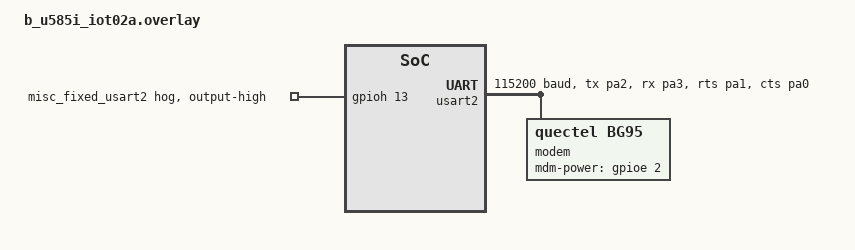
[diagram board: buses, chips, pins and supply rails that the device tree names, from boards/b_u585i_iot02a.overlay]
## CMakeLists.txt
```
# SPDX-License-Identifier: Apache-2.0

cmake_minimum_required(VERSION 3.28.0)

find_package(Zephyr REQUIRED HINTS $ENV{ZEPHYR_BASE})
project(cellular_modem)

target_sources(app PRIVATE src/main.c)
```

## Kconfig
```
# Copyright (c) 2025 Olivier Lalonde
# SPDX-License-Identifier: Apache-2.0

# Configuration options for cellular modem sample

mainmenu "Cellular modem sample application"

config SAMPLE_CELLULAR_MODEM_ENDPOINT_HOSTNAME
	string "Endpoint hostname"
	default "test-endpoint.com"

config SAMPLE_CELLULAR_MODEM_AUTO_APN
	bool "Autodetect APN from SIM IMSI"
	help
	  If enabled, the sample derives the APN from the SIM’s MCC + MNC.

menu "APN profiles for the application"
	depends on SAMPLE_CELLULAR_MODEM_AUTO_APN

config SAMPLE_CELLULAR_APN_0
	string "APN for profile #0"
	default ""
	help
	  Leave empty to disable the profile.

config SAMPLE_CELLULAR_IMSI_LIST_0
	string "IMSI prefix list for profile #0"
	default ""
	help
	  Space separated list of 5- or 6-digit MCC+MNC codes
	  that should use the APN above.
	  Example: 22801 22802 90143

config SAMPLE_CELLULAR_APN_1
	string "APN for profile #1"
	default ""

config SAMPLE_CELLULAR_IMSI_LIST_1
	string "IMSI prefix list for profile #1"
	default ""

config SAMPLE_CELLULAR_APN_2
	string "APN for profile #2"
	default ""

config SAMPLE_CELLULAR_IMSI_LIST_2
	string "IMSI prefix list for profile #2"
	default ""

config SAMPLE_CELLULAR_APN_3
	string "APN for profile #3"
	default ""

config SAMPLE_CELLULAR_IMSI_LIST_3
	string "IMSI prefix list for profile #3"
	default ""

endmenu

# Increase stack size due to DNS calls on the main thread
configdefault MAIN_STACK_SIZE
	default 2048

source "Kconfig.zephyr"
```

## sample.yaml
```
sample:
  description: Sample for cellular modem
  name: Sample for cellular modem using native networking
common:
  tags:
    - cellular
    - modem
  filter: dt_alias_exists("modem")
tests:
  sample.net.cellular_modem:
    platform_allow:
      - b_u585i_iot02a
    integration_platforms:
      - b_u585i_iot02a
  sample.net.cellular_modem.mikroe_lte_iot10_click:
    extra_args:
      - SHIELD=mikroe_lte_iot10_click
    platform_allow: ek_ra6m4
```

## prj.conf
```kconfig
# Copyright (c) 2023 Bjarki Arge Andreasen
# SPDX-License-Identifier: Apache-2.0
CONFIG_POSIX_AEP_CHOICE_NETAPP=y

# Networking
CONFIG_NETWORKING=y
CONFIG_NET_NATIVE=y
CONFIG_NET_L2_PPP=y
CONFIG_NET_IPV4=y
CONFIG_NET_UDP=y
CONFIG_NET_SOCKETS=y
CONFIG_NET_CONTEXT_RCVTIMEO=y

# DNS
CONFIG_DNS_RESOLVER=y
CONFIG_NET_L2_PPP_OPTION_DNS_USE=y

# Network management
CONFIG_NET_MGMT=y
CONFIG_NET_MGMT_EVENT=y
CONFIG_NET_CONNECTION_MANAGER=y

# Modem driver
CONFIG_MODEM=y
CONFIG_PM_DEVICE=y
CONFIG_PM_DEVICE_RUNTIME=y
CONFIG_MODEM_CELLULAR=y

# Dynamic APN configuration (uncomment if not needed)
#CONFIG_MODEM_CELLULAR_APN="" # Remove default APN
#CONFIG_SAMPLE_CELLULAR_MODEM_AUTO_APN=y
#CONFIG_SAMPLE_CELLULAR_APN_0="shared.m2m.ch"
#CONFIG_SAMPLE_CELLULAR_IMSI_LIST_0="22801"
#CONFIG_SAMPLE_CELLULAR_APN_1="em"
#CONFIG_SAMPLE_CELLULAR_IMSI_LIST_1="29505 90143 29509"

# Statistics
CONFIG_MODEM_STATS=y
CONFIG_SHELL=y

# Testing
CONFIG_MODEM_AT_SHELL=y
CONFIG_MODEM_CELLULAR_SHELL=y
CONFIG_PM_DEVICE_SHELL=y
CONFIG_SHELL_WILDCARD=n

# Logging
CONFIG_LOG=y
CONFIG_MODEM_LOG_LEVEL_DBG=y
CONFIG_MODEM_MODULES_LOG_LEVEL_DBG=y
# For extra verbosity
#CONFIG_MODEM_CMUX_LOG_LEVEL_DBG=y
#CONFIG_LOG_BUFFER_SIZE=65536
```

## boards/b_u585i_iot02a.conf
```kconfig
# Copyright (c) 2023, Bjarki Arge Andreasen
# SPDX-License-Identifier: Apache-2.0

CONFIG_UART_ASYNC_API=y
CONFIG_MODEM_CELLULAR_APN="internet"
```

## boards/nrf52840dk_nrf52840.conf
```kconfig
# Otherwise we run into DLCI buffer overruns (maybe due to lack of UART hardware flow control?)
CONFIG_MODEM_CMUX_WORK_BUFFER_SIZE=1507
CONFIG_NET_IPV6=n
```

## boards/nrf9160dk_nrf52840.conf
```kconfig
CONFIG_UART_ASYNC_API=y
CONFIG_UART_1_ASYNC=y
CONFIG_UART_1_INTERRUPT_DRIVEN=n

# Align with the Serial LTE Modem (SLM) application.
CONFIG_MODEM_CELLULAR_UART_BUFFER_SIZES=6000

# Print logs and printk() output on uart0.
CONFIG_LOG_BACKEND_UART=y

CONFIG_MODEM_LOG_LEVEL_DBG=y

# Disable AT shell as SLM application has no AT mode user pipes
CONFIG_MODEM_AT_SHELL=n
```

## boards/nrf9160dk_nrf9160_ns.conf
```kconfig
CONFIG_UART_ASYNC_API=y
CONFIG_UART_1_ASYNC=y
CONFIG_UART_1_INTERRUPT_DRIVEN=n
# Enable HW RX byte counting. This especially matters at higher baud rates.
CONFIG_UART_1_NRF_HW_ASYNC=y
CONFIG_UART_1_NRF_HW_ASYNC_TIMER=1

# Align with the Serial LTE Modem (SLM) application.
CONFIG_MODEM_CELLULAR_UART_BUFFER_SIZES=6000

# Prevent sockets getting offloaded to the modem.
CONFIG_NET_SOCKETS_OFFLOAD=n

# Print logs and printk() output on uart0.
CONFIG_LOG_BACKEND_UART=y

CONFIG_MODEM_LOG_LEVEL_DBG=y

# Disable AT shell as SLM application has no AT mode user pipes
CONFIG_MODEM_AT_SHELL=n
```

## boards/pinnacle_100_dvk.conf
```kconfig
CONFIG_MODEM_HL7800=n
CONFIG_NET_BUF_TX_COUNT=32
```

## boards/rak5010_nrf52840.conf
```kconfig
CONFIG_UART_ASYNC_API=y
CONFIG_MODEM_CELLULAR_APN="internet"
```

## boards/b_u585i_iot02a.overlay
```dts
/*
 * SPDX-FileCopyrightText: Copyright The Zephyr Project Contributors
 * SPDX-License-Identifier: Apache-2.0
 */

/ {
	aliases {
		modem-uart = &usart2;
		modem = &modem;
	};
};

&gpioh {
	misc_fixed_usart2 {
		gpio-hog;
		gpios = <13 GPIO_ACTIVE_HIGH>;
		output-high;
	};
};

&gpdma1 {
	status = "okay";
};

/* BG95 */
&usart2 {
	pinctrl-0 = <&usart2_tx_pa2 &usart2_rx_pa3 &usart2_rts_pa1 &usart2_cts_pa0>;
	pinctrl-names = "default";
	current-speed = <115200>;
	hw-flow-control;

	dmas = <&gpdma1 27 STM32_DMA_PERIPH_TX>,
	       <&gpdma1 26 STM32_DMA_PERIPH_RX>;
	dma-names = "tx", "rx";

	status = "okay";

	modem: modem {
		compatible = "quectel,bg95";
		mdm-power-gpios = <&gpioe 2 GPIO_ACTIVE_HIGH>;
		status = "okay";
	};
};
```

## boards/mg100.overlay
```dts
/ {
	aliases {
		modem-uart = &uart1;
		modem = &hl7800;
	};
};
```

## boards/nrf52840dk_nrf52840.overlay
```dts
/ {
	aliases {
		modem = &modem;
	};
};

/* Tested with Simcom A7672SA module connected via UART
 * TX: P1.2
 * RX: P1.1
 * PWRKEY: P0.02
 */
&uart1 {
	compatible = "nordic,nrf-uarte";
	status = "okay";
	current-speed = <115200>;
	/* The module I tested with doesn't expose RCS/CTS pins
	 * hw-flow-control;
	 */

	pinctrl-0 = <&uart1_default>;

	modem: modem {
		compatible = "simcom,a76xx";
		status = "okay";
		mdm-power-gpios = <&gpio0 2 (GPIO_ACTIVE_HIGH)>;
	};
};
```

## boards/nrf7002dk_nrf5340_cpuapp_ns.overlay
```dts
/ {
        aliases {
                modem = &modem;
        };
};

&pinctrl {
        uart1_alt_default: uart1_alt_default {
                group1 {
                        psels = <NRF_PSEL(UART_TX, 0, 25)>;
                };
                group2 {
                        psels = <NRF_PSEL(UART_RX, 0, 26)>;
                        bias-pull-up;
                };
        };

        uart1_alt_sleep: uart1_alt_sleep {
                group1 {
                        psels = <NRF_PSEL(UART_TX, 0, 25)>,
                                <NRF_PSEL(UART_RX, 0, 26)>;
                        low-power-enable;
                };
        };
};

&uart1 {
        pinctrl-0 = <&uart1_alt_default>;
        pinctrl-1 = <&uart1_alt_sleep>;
        pinctrl-names = "default", "sleep";
        current-speed = <115200>;
        status = "okay";

        modem: modem {
                compatible = "telit,me910g1";
                mdm-power-gpios = <&gpio1 6 GPIO_ACTIVE_HIGH>;
                mdm-reset-gpios = <&gpio1 7 GPIO_ACTIVE_LOW>;
                status = "okay";
        };
};
```

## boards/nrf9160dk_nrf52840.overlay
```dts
#include <nrf52840/nrf9160dk_uart1_on_if0_3.dtsi>

/ {
	aliases {
		modem = &modem;
	};
};

&uart1 {
	current-speed = <115200>;
	hw-flow-control;

	modem: modem {
		compatible = "nordic,nrf91-slm";
		status = "okay";
		mdm-power-gpios = <&interface_to_nrf9160 4 GPIO_ACTIVE_LOW>;
	};
};
```

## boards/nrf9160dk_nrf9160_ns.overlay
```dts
/ {
	aliases {
		modem = &modem;
	};
};

&uart1 {
	compatible = "nordic,nrf-uarte";
	current-speed = <115200>;
	hw-flow-control;
	status = "okay";

	pinctrl-0 = <&uart1_default_alt>;

	modem: modem {
		compatible = "nordic,nrf91-slm";
		status = "okay";
		mdm-power-gpios = <&gpio0 20 GPIO_ACTIVE_LOW>;
	};
};

&pinctrl {
	uart1_default_alt: uart1_default_alt {
		group1 {
			psels = <NRF_PSEL(UART_RX, 0, 11)>;
			bias-pull-up;
		};

		group2 {
			psels = <NRF_PSEL(UART_TX, 0, 10)>,
				<NRF_PSEL(UART_RTS, 0, 12)>,
				<NRF_PSEL(UART_CTS, 0, 13)>;
		};
	};
};
```

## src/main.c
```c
/*
 * Copyright (c) 2023, Bjarki Arge Andreasen
 *
 * SPDX-License-Identifier: Apache-2.0
 */

#include <netinet/in.h>
#include <sys/socket.h>
#include <arpa/inet.h>
#include <unistd.h>

#include <zephyr/device.h>
#include <zephyr/kernel.h>
#include <zephyr/net/net_if.h>
#include <zephyr/net/dns_resolve.h>
#include <zephyr/pm/device.h>
#include <zephyr/pm/device_runtime.h>
#include <string.h>

#include <zephyr/posix/netinet/in.h>
#include <zephyr/posix/sys/socket.h>
#include <zephyr/posix/arpa/inet.h>
#include <zephyr/posix/unistd.h>
#include <zephyr/posix/poll.h>

#include <zephyr/drivers/cellular.h>

#define L4_EVENT_MASK \
	(NET_EVENT_L4_CONNECTED | NET_EVENT_L4_DISCONNECTED | NET_EVENT_DNS_SERVER_ADD)
#define SAMPLE_TEST_ENDPOINT_HOSTNAME           CONFIG_SAMPLE_CELLULAR_MODEM_ENDPOINT_HOSTNAME
#define SAMPLE_TEST_ENDPOINT_UDP_ECHO_PORT	(7780)
#define SAMPLE_TEST_ENDPOINT_UDP_RECEIVE_PORT	(7781)
#define SAMPLE_TEST_PACKET_SIZE			(1024)
#define SAMPLE_TEST_ECHO_PACKETS		(16)
#define SAMPLE_TEST_TRANSMIT_PACKETS		(128)
#define L4_CONNECTED 1
#define L4_DNS_ADDED 2

const struct device *modem = DEVICE_DT_GET(DT_ALIAS(modem));

static uint8_t sample_test_packet[SAMPLE_TEST_PACKET_SIZE];
static uint8_t sample_recv_buffer[SAMPLE_TEST_PACKET_SIZE];
static bool sample_test_dns_success;
static struct dns_addrinfo sample_test_dns_addrinfo;
struct net_if *ppp_iface;
K_EVENT_DEFINE(l4_event);
K_SEM_DEFINE(dns_query_sem, 0, 1);

static uint8_t sample_prng_random(void)
{
	static uint32_t prng_state = 1234;

	prng_state = ((1103515245 * prng_state) + 12345) % (1U << 31);
	return (uint8_t)(prng_state & 0xFF);
}

static void init_sample_test_packet(void)
{
	for (size_t i = 0; i < sizeof(sample_test_packet); i++) {
		sample_test_packet[i] = sample_prng_random();
	}
}

static void print_cellular_info(void)
{
	char buffer[MAX(64, CONFIG_MODEM_CELLULAR_SERIAL_NUMBER_MAX_SIZE) + 1] = {0};
	int16_t rssi;
	int rc;

	rc = cellular_get_signal(modem, CELLULAR_SIGNAL_RSSI, &rssi);
	if (!rc) {
		printk("RSSI %d\n", rssi);
	}

	rc = cellular_get_modem_info(modem, CELLULAR_MODEM_INFO_IMEI, &buffer[0], sizeof(buffer));
	if (!rc) {
		printk("IMEI: %s\n", buffer);
	}
	rc = cellular_get_modem_info(modem, CELLULAR_MODEM_INFO_SERIAL_NUMBER, &buffer[0],
				     sizeof(buffer));
	if (!rc) {
		printk("SN: %s\n", buffer);
	}
	rc = cellular_get_modem_info(modem, CELLULAR_MODEM_INFO_MODEL_ID, &buffer[0],
				     sizeof(buffer));
	if (!rc) {
		printk("MODEL_ID: %s\n", buffer);
	}
	rc = cellular_get_modem_info(modem, CELLULAR_MODEM_INFO_MANUFACTURER, &buffer[0],
				     sizeof(buffer));
	if (!rc) {
		printk("MANUFACTURER: %s\n", buffer);
	}
	rc = cellular_get_modem_info(modem, CELLULAR_MODEM_INFO_SIM_IMSI, &buffer[0],
				     sizeof(buffer));
	if (!rc) {
		printk("SIM_IMSI: %s\n", buffer);
	}
	rc = cellular_get_modem_info(modem, CELLULAR_MODEM_INFO_SIM_ICCID, &buffer[0],
				     sizeof(buffer));
	if (!rc) {
		printk("SIM_ICCID: %s\n", buffer);
	}
	rc = cellular_get_modem_info(modem, CELLULAR_MODEM_INFO_FW_VERSION, &buffer[0],
				     sizeof(buffer));
	if (!rc) {
		printk("FW_VERSION: %s\n", buffer);
	}
}

#ifdef CONFIG_SAMPLE_CELLULAR_MODEM_AUTO_APN

struct apn_profile {
	const char *apn;
	const char *imsi_list;
};

/* Build the static table */
static const struct apn_profile apn_profiles[] = {
	{ CONFIG_SAMPLE_CELLULAR_APN_0, CONFIG_SAMPLE_CELLULAR_IMSI_LIST_0 },
	{ CONFIG_SAMPLE_CELLULAR_APN_1, CONFIG_SAMPLE_CELLULAR_IMSI_LIST_1 },
	{ CONFIG_SAMPLE_CELLULAR_APN_2, CONFIG_SAMPLE_CELLULAR_IMSI_LIST_2 },
	{ CONFIG_SAMPLE_CELLULAR_APN_3, CONFIG_SAMPLE_CELLULAR_IMSI_LIST_3 },
};


/* Helper function to skip whitespace */
static const char *skip_whitespace(const char *ptr)
{
	while (*ptr == ' ' || *ptr == '\t') {
		++ptr;
	}
	return ptr;
}

/* Helper function to find the end of current profile entry */
static bool list_matches_imsi(const char *list, const char *imsi)
{
	for (const char *p = list; *p; ) {
		p = skip_whitespace(p);
		if (!*p) {
			break;
		}

		/* copy one token from the list */
		char tok[7];
		size_t len = 0;

		while (*p && *p != ' ' && *p != '\t' && *p != ',' && len < sizeof(tok) - 1) {
			tok[len++] = *p++;
		}
		tok[len] = '\0';

		if (len >= 5 && len <= 6 && !strncmp(imsi, tok, len)) {
			return true;    /* prefix matches */
		}
	}
	return false;
}

static int modem_cellular_find_apn(char *dst, size_t dst_sz, const char *key)
{
	for (size_t i = 0; i < ARRAY_SIZE(apn_profiles); i++) {
		const struct apn_profile *p = &apn_profiles[i];

		if (p->apn[0] == '\0') {
			continue;
		}

		if (p->apn[0] && list_matches_imsi(p->imsi_list, key)) {
			strncpy(dst, p->apn, dst_sz - 1);
			dst[dst_sz - 1] = '\0';
			return 0;
		}
	}

	return -ENOENT;
}

static void auto_apn_modem_info_cb(const struct device *dev,
				   const struct cellular_evt_modem_info *mi)
{
	if (!mi || mi->field != CELLULAR_MODEM_INFO_SIM_IMSI) {
		return; /* not the IMSI notification */
	}

	char imsi[32] = {0};

	if (cellular_get_modem_info(dev, CELLULAR_MODEM_INFO_SIM_IMSI, imsi, sizeof(imsi)) != 0) {
		return;
	}

	/* Buffer for the APN we may discover */
	char apn[32] = {0};

	/* Try MCC+MNC with 6 digits first, then 5 digits */
	for (size_t len = 6; len >= 5; len--) {
		if (strlen(imsi) < len) {
			continue;
		}

		char key[7] = {0};

		memcpy(key, imsi, len);

		if (modem_cellular_find_apn(apn, sizeof(apn), key) == 0) {
			int rc = cellular_set_apn(dev, apn);

			switch (rc) {
			case 0:
				printk("Auto-selected APN: %s\n", apn);
				break;
			case -EALREADY:
				printk("APN %s already active\n", apn);
				break;
			case -EBUSY:
				printk("Driver busy, cannot change APN now\n");
				break;
			default:
				printk("Driver rejected APN %s (err %d)\n", apn, rc);
				break;
			}
			return;
		}
	}

	printk("No APN profile matches IMSI %s - waiting for manual APN\n", imsi);
}

#endif

static void modem_registration_changed(const struct device *dev,
				       const struct cellular_evt_registration_status *rs)
{
	ARG_UNUSED(dev);

	printk("Registration status: %d\n", rs->status);
}

static void comms_check_result(const struct device *dev,
			       const struct cellular_evt_modem_comms_check_result *ccr)
{
	ARG_UNUSED(dev);

	printk("Comms check %s\n", ccr->success ? "succeeded" : "failed");
}

static void network_status_changed(const struct device *dev,
				   const struct cellular_evt_network_status *ns)
{
	ARG_UNUSED(dev);
	ARG_UNUSED(ns);

	printk("Network status changed\n");
}

static void modem_suspended(const struct device *dev)
{
	ARG_UNUSED(dev);

	printk("Modem suspended\n");
}

static void modem_event_cb(const struct device *dev, enum cellular_event evt, const void *payload,
			   void *user_data)
{
	ARG_UNUSED(user_data);

	switch (evt) {
	case CELLULAR_EVENT_MODEM_INFO_CHANGED:
#ifdef CONFIG_SAMPLE_CELLULAR_MODEM_AUTO_APN
		auto_apn_modem_info_cb(dev, payload);
#endif
		break;
	case CELLULAR_EVENT_REGISTRATION_STATUS_CHANGED:
		modem_registration_changed(dev, payload);
		break;
	case CELLULAR_EVENT_MODEM_COMMS_CHECK_RESULT:
		comms_check_result(dev, payload);
		break;
	case CELLULAR_EVENT_NETWORK_STATUS_CHANGED:
		network_status_changed(dev, payload);
		break;
	case CELLULAR_EVENT_MODEM_SUSPENDED:
		modem_suspended(dev);
		break;
	default:
		printk("Unhandled event: %d\n", evt);
		break;
	}
}

static void sample_dns_request_result(enum dns_resolve_status status, struct dns_addrinfo *info,
				      void *user_data)
{
	switch (status) {
	case DNS_EAI_INPROGRESS:
		sample_test_dns_success = true;
		sample_test_dns_addrinfo = *info;
		break;
	case DNS_EAI_ALLDONE:
		k_sem_give(&dns_query_sem);
		break;
	case DNS_EAI_AGAIN:
	case DNS_EAI_FAIL:
	case DNS_EAI_NONAME:
		printk("DNS query failed: %d\n", status);
		k_sem_give(&dns_query_sem);
		break;
	default:
		printk("Unhandled DNS status: %d\n", status);
	}
}

static int sample_dns_request(void)
{
	static uint16_t dns_id;
	int ret;

	ret = dns_get_addr_info(SAMPLE_TEST_ENDPOINT_HOSTNAME,
				DNS_QUERY_TYPE_A,
				&dns_id,
				sample_dns_request_result,
				NULL,
				19000);
	if (ret < 0) {
		return -EAGAIN;
	}

	/* Wait for DNS query to complete */
	if (k_sem_take(&dns_query_sem, K_SECONDS(20)) < 0) {
		printk("DNS query timed out\n");
		return -EAGAIN;
	}

	/* Validate whether the query succeeded */
	if (!sample_test_dns_success) {
		return -EAGAIN;
	}

	return 0;
}

int sample_echo_packet(struct sockaddr *ai_addr, socklen_t ai_addrlen, uint16_t *port)
{
	int ret;
	int socket_fd;
	uint32_t packets_sent = 0;
	uint32_t send_start_ms;
	uint32_t echo_received_ms;
	uint32_t accumulated_ms = 0;

	printk("Opening UDP socket\n");

	socket_fd = socket(AF_INET, SOCK_DGRAM, IPPROTO_UDP);
	if (socket_fd < 0) {
		printk("Failed to open socket (%d)\n", errno);
		return -1;
	}

	{
		const struct timeval tv = { .tv_sec = 10 };

		if (setsockopt(socket_fd, SOL_SOCKET, SO_RCVTIMEO, &tv, sizeof(tv)) < 0) {
			printk("Failed to set socket receive timeout (%d)\n", errno);
			return -1;
		}
	}

	printk("Socket opened\n");

	*port = htons(SAMPLE_TEST_ENDPOINT_UDP_ECHO_PORT);

	for (uint32_t i = 0; i < SAMPLE_TEST_ECHO_PACKETS; i++) {
		printk("Sending echo packet\n");
		send_start_ms = k_uptime_get_32();

		ret = sendto(socket_fd, sample_test_packet, sizeof(sample_test_packet), 0,
			     ai_addr, ai_addrlen);

		if (ret < sizeof(sample_test_packet)) {
			printk("Failed to send sample test packet\n");
			continue;
		}

		printk("Receiving echoed packet\n");
		ret = recv(socket_fd, sample_recv_buffer, sizeof(sample_recv_buffer), 0);
		if (ret != sizeof(sample_test_packet)) {
			if (ret == -1) {
				printk("Failed to receive echoed sample test packet (%d)\n", errno);
			} else {
				printk("Echoed sample test packet has incorrect size (%d)\n", ret);
			}
			continue;
		}

		echo_received_ms = k_uptime_get_32();

		if (memcmp(sample_test_packet, sample_recv_buffer,
			   sizeof(sample_recv_buffer)) != 0) {
			printk("Echoed sample test packet data mismatch\n");
			continue;
		}

		packets_sent++;
		accumulated_ms += echo_received_ms - send_start_ms;

		printk("Echo transmit time %ums\n", echo_received_ms - send_start_ms);
	}

	printk("Successfully sent and received %u of %u packets\n", packets_sent,
	       SAMPLE_TEST_ECHO_PACKETS);

	if (packets_sent > 0) {
		printk("Average time per successful echo: %u ms\n",
		accumulated_ms / packets_sent);
	}

	printk("Close UDP socket\n");

	ret = close(socket_fd);
	if (ret < 0) {
		printk("Failed to close socket\n");
		return -1;
	}

	return 0;
}


int sample_transmit_packets(struct sockaddr *ai_addr, socklen_t ai_addrlen, uint16_t *port)
{
	int ret;
	int socket_fd;
	uint32_t packets_sent = 0;
	uint32_t packets_received;
	uint32_t packets_dropped;
	uint32_t send_start_ms;
	uint32_t send_end_ms;

	printk("Opening UDP socket\n");

	socket_fd = socket(AF_INET, SOCK_DGRAM, IPPROTO_UDP);
	if (socket_fd < 0) {
		printk("Failed to open socket\n");
		return -1;
	}

	{
		const struct timeval tv = { .tv_sec = 10 };

		if (setsockopt(socket_fd, SOL_SOCKET, SO_RCVTIMEO, &tv, sizeof(tv)) < 0) {
			printk("Failed to set socket receive timeout (%d)\n", errno);
			(void)close(socket_fd);
			return -1;
		}
	}

	printk("Socket opened\n");

	*port = htons(SAMPLE_TEST_ENDPOINT_UDP_RECEIVE_PORT);

	printk("Sending %u packets\n", SAMPLE_TEST_TRANSMIT_PACKETS);
	send_start_ms = k_uptime_get_32();
	for (uint32_t i = 0; i < SAMPLE_TEST_TRANSMIT_PACKETS; i++) {
		ret = sendto(socket_fd, sample_test_packet, sizeof(sample_test_packet), 0,
			     ai_addr, ai_addrlen);

		if (ret < sizeof(sample_test_packet)) {
			printk("Failed to send sample test packet\n");
			break;
		}

		packets_sent++;
	}
	send_end_ms = k_uptime_get_32();

	printk("Awaiting response from server\n");
	ret = recv(socket_fd, sample_recv_buffer, sizeof(sample_recv_buffer), 0);
	if (ret != 2) {
		printk("Invalid response\n");
		(void)close(socket_fd);
		return -1;
	}

	packets_received = sample_recv_buffer[0];
	packets_dropped = sample_recv_buffer[1];
	printk("Server received %u/%u packets\n", packets_received, packets_sent);
	printk("Server dropped %u packets\n", packets_dropped);
	printk("Time elapsed sending packets %ums\n", send_end_ms - send_start_ms);
	printk("Throughput %u bytes/s\n",
	       ((SAMPLE_TEST_PACKET_SIZE * SAMPLE_TEST_TRANSMIT_PACKETS) * 1000) /
	       (send_end_ms - send_start_ms));

	printk("Close UDP socket\n");
	ret = close(socket_fd);
	if (ret < 0) {
		printk("Failed to close socket\n");
		return -1;
	}

	return 0;
}

static void l4_event_handler(uint64_t event, struct net_if *iface, void *info, size_t info_length,
			     void *user_data)
{
	if (iface != ppp_iface) {
		return;
	}

	switch (event) {
	case NET_EVENT_L4_CONNECTED:
		k_event_post(&l4_event, L4_CONNECTED);
		break;
	case NET_EVENT_DNS_SERVER_ADD:
		k_event_post(&l4_event, L4_DNS_ADDED);
		break;
	case NET_EVENT_L4_DISCONNECTED:
		k_event_set(&l4_event, 0);
		break;
	default:
		break;
	}
}

NET_MGMT_REGISTER_EVENT_HANDLER(l4_events, L4_EVENT_MASK, l4_event_handler, NULL);

int main(void)
{
	const cellular_event_mask_t all_events =
		CELLULAR_EVENT_MODEM_INFO_CHANGED | CELLULAR_EVENT_REGISTRATION_STATUS_CHANGED |
		CELLULAR_EVENT_MODEM_COMMS_CHECK_RESULT | CELLULAR_EVENT_NETWORK_STATUS_CHANGED |
		CELLULAR_EVENT_MODEM_SUSPENDED;
	bool valid_dns = false;
	uint16_t *port;
	int ret;

	/* Subscribe before powering the modem so we catch all events */
	ret = cellular_set_callback(modem, all_events, modem_event_cb, NULL);
	if (ret < 0) {
		printk("Failed to subscribe to modem events (%d)\n", ret);
	}

	init_sample_test_packet();

	ppp_iface = net_if_get_first_by_type(&NET_L2_GET_NAME(PPP));

	printk("Bring up network interface\n");
	ret = net_if_up(ppp_iface);
	if (ret < 0) {
		printk("Failed to bring up network interface\n");
		return -1;
	}

	printk("Waiting for L4 connected\n");
	ret = k_event_wait(&l4_event, L4_CONNECTED, false, K_SECONDS(120));

	if (ret != L4_CONNECTED) {
		printk("L4 was not connected in time\n");
		return -1;
	}

	printk("Waiting for DNS server added\n");
	ret = k_event_wait(&l4_event, L4_DNS_ADDED, false, K_SECONDS(10));
	if (ret != L4_DNS_ADDED) {
		printk("DNS server was not added in time\n");
		return -1;
	}

	printk("Retrieving cellular info\n");
	print_cellular_info();

	printk("Performing DNS lookup of %s\n", SAMPLE_TEST_ENDPOINT_HOSTNAME);
	ret = sample_dns_request();
	if (ret < 0) {
		goto power_cycle;
	} else {
		valid_dns = true;
	}

	{
		struct sockaddr *ai_addr = net_sad(&sample_test_dns_addrinfo.ai_addr_storage);
		char ip_str[INET6_ADDRSTRLEN];
		const void *src;

		switch (sample_test_dns_addrinfo.ai_addr_storage.ss_family) {
		case AF_INET:
			src = &net_sin(ai_addr)->sin_addr;
			port = &net_sin(ai_addr)->sin_port;
			break;
		case AF_INET6:
			src = &net_sin6(ai_addr)->sin6_addr;
			port = &net_sin6(ai_addr)->sin6_port;
			break;
		default:
			printk("Unsupported address family\n");
			return -1;
		}
		inet_ntop(sample_test_dns_addrinfo.ai_addr_storage.ss_family, src, ip_str,
			  sizeof(ip_str));
		printk("Resolved to %s\n", ip_str);
	}

	ret = sample_echo_packet(net_sad(&sample_test_dns_addrinfo.ai_addr_storage),
				 sample_test_dns_addrinfo.ai_addrlen, port);

	if (ret < 0) {
		printk("Failed to send echos\n");
		goto power_cycle;
	}

	ret = sample_transmit_packets(net_sad(&sample_test_dns_addrinfo.ai_addr_storage),
				      sample_test_dns_addrinfo.ai_addrlen, port);

	if (ret < 0) {
		printk("Failed to send packets\n");
	}

power_cycle:
	printk("Taking interface down\n");
	ret = net_if_down(ppp_iface);
	if (ret < 0) {
		printk("Failed to take down network interface\n");
		return -1;
	}

	printk("Requesting interface up\n");
	ret = net_if_up(ppp_iface);
	if (ret < 0) {
		printk("Failed to request network interface back up\n");
		return -1;
	}

	printk("Waiting for L4 connected\n");
	ret = k_event_wait(&l4_event, L4_CONNECTED, false, K_SECONDS(120));
	if (ret != L4_CONNECTED) {
		printk("L4 was not connected in time\n");
		return -1;
	}
	printk("L4 connected\n");

	/* Wait a bit to avoid (unsuccessfully) trying to send the first echo packet too quickly */
	k_sleep(K_SECONDS(5));

	if (valid_dns) {
		/* Only run the second echo if the original DNS succeeded */
		ret = sample_echo_packet(net_sad(&sample_test_dns_addrinfo.ai_addr_storage),
					sample_test_dns_addrinfo.ai_addrlen, port);
	}

	if (ret < 0) {
		printk("Failed to send echos after restart\n");
	}

	printk("Final interface down\n");
	ret = net_if_down(ppp_iface);
	if (ret < 0) {
		printk("Failed to take down network interface\n");
		return -1;
	}

	printk("Sample complete\n");
	return 0;
}
```
